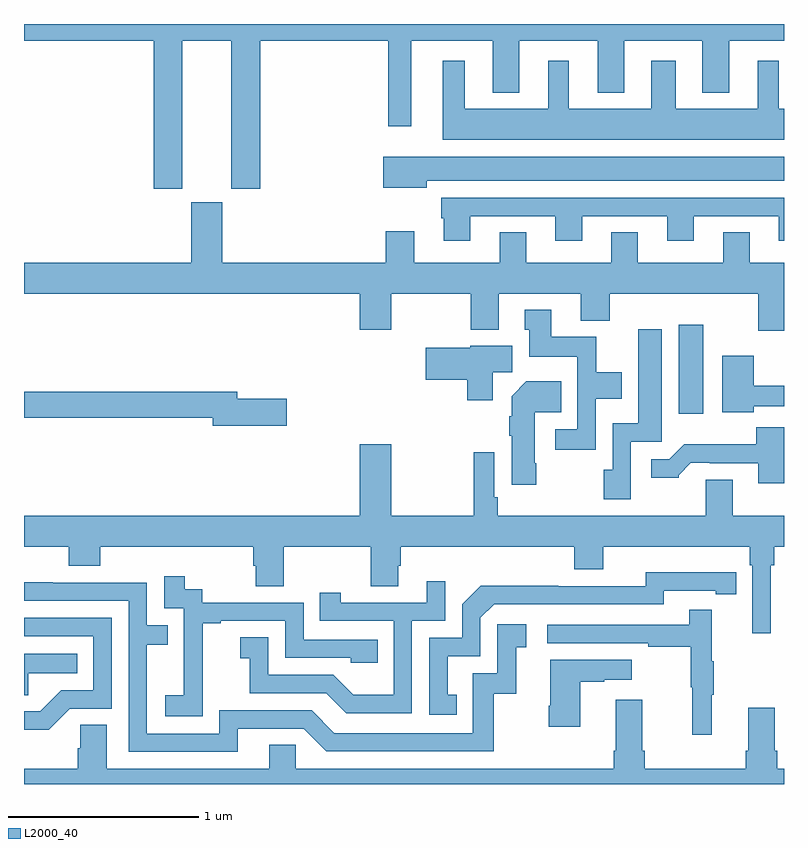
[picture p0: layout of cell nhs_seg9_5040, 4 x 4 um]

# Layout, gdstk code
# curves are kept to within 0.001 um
import gdstk
lib = gdstk.Library(unit=1e-6, precision=1e-09)
def R(c, l, rs):  # rectangles x0, y0, x1, y1
    for r in rs: c.add(gdstk.rectangle(r[:2], r[2:], *l))
def P(c, l, *ps):  # polygons
    for p in ps: c.add(gdstk.Polygon(p, *l))
L2000_40 = (2000, 40)

nhs_seg9_5040 = lib.new_cell('nhs_seg9_5040')
R(nhs_seg9_5040, L2000_40, [(406.445,1202.448,406.576,1202.917)])
P(nhs_seg9_5040, L2000_40, [(403,1204.412),(403.682,1204.412),(403.682,1203.633),(403.834,1203.633),(403.834,1204.412),(404.09,1204.412),(404.09,1203.633),(404.243,1203.633),(404.243,1204.412),(404.916,1204.412),(404.916,1203.963),(405.037,1203.963),(405.037,1204.412),(405.467,1204.412),(405.467,1204.139),(405.607,1204.139),(405.607,1204.412),(406.019,1204.412),(406.019,1204.139),(406.159,1204.139),(406.159,1204.412),(406.571,1204.412),(406.571,1204.139),(406.711,1204.139),(406.711,1204.412),(407,1204.412),(407,1204.5),(403,1204.5)],
  [(407,1204.054),(406.972,1204.054),(406.972,1204.306),(406.862,1204.306),(406.862,1204.054),(406.429,1204.054),(406.429,1204.306),(406.301,1204.306),(406.301,1204.054),(405.868,1204.054),(405.868,1204.306),(405.758,1204.306),(405.758,1204.054),(405.319,1204.054),(405.319,1204.306),(405.203,1204.306),(405.203,1203.89),(407,1203.89)],
  [(405.121,1203.674),(407,1203.674),(407,1203.802),(404.892,1203.802),(404.892,1203.638),(405.121,1203.638)],
  [(405.349,1203.489),(405.797,1203.489),(405.797,1203.36),(405.937,1203.36),(405.937,1203.489),(406.385,1203.489),(406.385,1203.36),(406.525,1203.36),(406.525,1203.489),(406.973,1203.489),(406.973,1203.36),(407,1203.36),(407,1203.585),(405.197,1203.585),(405.197,1203.477),(405.209,1203.477),(405.209,1203.36),(405.349,1203.36)],
  [(407,1203.244),(406.819,1203.244),(406.819,1203.404),(406.679,1203.404),(406.679,1203.244),(406.231,1203.244),(406.231,1203.404),(406.091,1203.404),(406.091,1203.244),(405.643,1203.244),(405.643,1203.404),(405.503,1203.404),(405.503,1203.244),(405.055,1203.244),(405.055,1203.409),(404.903,1203.409),(404.903,1203.244),(404.044,1203.244),(404.044,1203.561),(403.88,1203.561),(403.88,1203.244),(403,1203.244),(403,1203.08),(404.768,1203.08),(404.768,1202.892),(404.932,1202.892),(404.932,1203.08),(405.352,1203.08),(405.352,1202.891),(405.499,1202.891),(405.499,1203.08),(405.929,1203.08),(405.929,1202.939),(406.082,1202.939),(406.082,1203.08),(406.865,1203.08),(406.865,1202.886),(407,1202.886)],
  [(406.008,1202.528),(406.147,1202.528),(406.147,1202.668),(406.011,1202.668),(406.011,1202.854),(405.775,1202.854),(405.775,1202.995),(405.635,1202.995),(405.635,1202.892),(405.659,1202.892),(405.659,1202.75),(405.912,1202.75),(405.912,1202.367),(405.795,1202.367),(405.795,1202.259),(406.008,1202.259)],
  [(406.194,1202.301),(406.357,1202.301),(406.357,1202.893),(406.232,1202.893),(406.232,1202.398),(406.098,1202.398),(406.098,1202.154),(406.051,1202.154),(406.051,1201.998),(406.194,1201.998)],
  [(405.466,1202.668),(405.571,1202.668),(405.571,1202.806),(405.348,1202.806),(405.348,1202.797),(405.114,1202.797),(405.114,1202.627),(405.332,1202.627),(405.332,1202.52),(405.466,1202.52)],
  [(406.84,1202.487),(407,1202.487),(407,1202.596),(406.84,1202.596),(406.84,1202.755),(406.676,1202.755),(406.676,1202.456),(406.84,1202.456)],
  [(405.696,1202.188),(405.688,1202.188),(405.688,1202.456),(405.827,1202.456),(405.827,1202.62),(405.644,1202.62),(405.566,1202.542),(405.566,1202.435),(405.554,1202.435),(405.554,1202.332),(405.566,1202.332),(405.566,1202.076),(405.696,1202.076)],
  [(404.383,1202.528),(404.122,1202.528),(404.122,1202.564),(403,1202.564),(403,1202.428),(403.994,1202.428),(403.994,1202.386),(404.383,1202.386)],
  [(407,1202.377),(406.853,1202.377),(406.853,1202.287),(406.474,1202.287),(406.395,1202.208),(406.302,1202.208),(406.302,1202.111),(406.446,1202.111),(406.446,1202.126),(406.51,1202.19),(406.609,1202.19),(406.609,1202.187),(406.865,1202.187),(406.865,1202.082),(407,1202.082)],
  [(406.93,1201.652),(406.949,1201.652),(406.949,1201.748),(407,1201.748),(407,1201.912),(406.729,1201.912),(406.729,1202.102),(406.589,1202.102),(406.589,1201.912),(405.494,1201.912),(405.494,1202.008),(405.474,1202.008),(405.474,1202.245),(405.366,1202.245),(405.366,1201.912),(404.932,1201.912),(404.932,1202.287),(404.768,1202.287),(404.768,1201.912),(403,1201.912),(403,1201.748),(403.235,1201.748),(403.235,1201.649),(403.4,1201.649),(403.4,1201.748),(404.207,1201.748),(404.207,1201.65),(404.219,1201.65),(404.219,1201.54),(404.367,1201.54),(404.367,1201.748),(404.824,1201.748),(404.824,1201.54),(404.971,1201.54),(404.971,1201.65),(404.984,1201.65),(404.984,1201.748),(405.896,1201.748),(405.896,1201.631),(406.048,1201.631),(406.048,1201.748),(406.82,1201.748),(406.82,1201.652),(406.833,1201.652),(406.833,1201.293),(406.93,1201.293)],
  [(405.278,1200.969),(405.229,1200.969),(405.229,1201.173),(405.402,1201.173),(405.402,1201.374),(405.474,1201.446),(406.368,1201.446),(406.368,1201.518),(406.64,1201.518),(406.64,1201.498),(406.748,1201.498),(406.748,1201.614),(406.272,1201.615),(406.272,1201.542),(405.812,1201.542),(405.812,1201.544),(405.404,1201.544),(405.306,1201.446),(405.306,1201.269),(405.132,1201.269),(405.132,1200.864),(405.278,1200.864)],
  [(403.941,1201.063),(403.94,1201.063),(403.94,1201.347),(404.035,1201.347),(404.035,1201.359),(404.376,1201.359),(404.376,1201.164),(404.721,1201.164),(404.721,1201.137),(404.861,1201.137),(404.861,1201.26),(404.472,1201.26),(404.472,1201.455),(403.938,1201.455),(403.938,1201.524),(403.846,1201.524),(403.846,1201.594),(403.737,1201.594),(403.737,1201.425),(403.842,1201.425),(403.842,1201.196),(403.841,1201.196),(403.841,1200.967),(403.743,1200.967),(403.743,1200.857),(403.941,1200.857)],
  [(405.042,1201.359),(405.216,1201.359),(405.216,1201.567),(405.119,1201.567),(405.119,1201.455),(404.668,1201.455),(404.668,1201.507),(404.557,1201.507),(404.557,1201.359),(404.946,1201.359),(404.946,1200.97),(404.732,1200.97),(404.628,1201.074),(404.286,1201.074),(404.286,1201.273),(404.139,1201.273),(404.139,1201.163),(404.188,1201.163),(404.188,1200.978),(404.591,1200.978),(404.696,1200.873),(405.042,1200.873)],
  [(404.125,1200.792),(404.472,1200.792),(404.592,1200.672),(405.472,1200.672),(405.472,1200.975),(405.59,1200.975),(405.59,1201.221),(405.643,1201.221),(405.643,1201.342),(405.492,1201.342),(405.492,1201.083),(405.363,1201.083),(405.363,1200.768),(404.634,1200.768),(404.514,1200.888),(404.028,1200.888),(404.028,1200.765),(403.647,1200.765),(403.647,1201.234),(403.757,1201.234),(403.757,1201.335),(403.647,1201.335),(403.647,1201.56),(403.151,1201.56),(403.151,1201.562),(403,1201.562),(403,1201.464),(403.551,1201.464),(403.551,1200.669),(404.125,1200.669)],
  [(406.619,1200.971),(406.63,1200.971),(406.63,1201.145),(406.619,1201.145),(406.619,1201.417),(406.501,1201.417),(406.501,1201.338),(405.753,1201.338),(405.753,1201.242),(406.285,1201.242),(406.285,1201.222),(406.509,1201.222),(406.509,1201.008),(406.516,1201.008),(406.516,1200.759),(406.619,1200.759)],
  [(403.242,1200.897),(403.461,1200.897),(403.461,1201.374),(403,1201.374),(403,1201.278),(403.365,1201.278),(403.365,1200.993),(403.196,1200.993),(403.085,1200.882),(403,1200.882),(403,1200.785),(403.129,1200.785)],
  [(403.023,1201.082),(403.28,1201.082),(403.28,1201.186),(403,1201.186),(403,1200.967),(403.023,1200.967)],
  [(405.928,1201.039),(406.055,1201.039),(406.055,1201.049),(406.198,1201.049),(406.198,1201.153),(405.77,1201.153),(405.77,1200.913),(405.763,1200.913),(405.763,1200.801),(405.928,1200.801)],
  [(407,1200.58),(406.964,1200.58),(406.964,1200.676),(406.951,1200.676),(406.951,1200.901),(406.811,1200.901),(406.811,1200.676),(406.799,1200.676),(406.799,1200.58),(406.268,1200.58),(406.268,1200.676),(406.255,1200.676),(406.255,1200.943),(406.115,1200.943),(406.115,1200.676),(406.103,1200.676),(406.103,1200.58),(404.43,1200.58),(404.43,1200.707),(404.291,1200.707),(404.291,1200.58),(403.435,1200.58),(403.435,1200.812),(403.296,1200.812),(403.296,1200.689),(403.283,1200.689),(403.283,1200.58),(403,1200.58),(403,1200.5),(407,1200.5)])

lib.write_gds('nhs_seg9_5040.gds')
